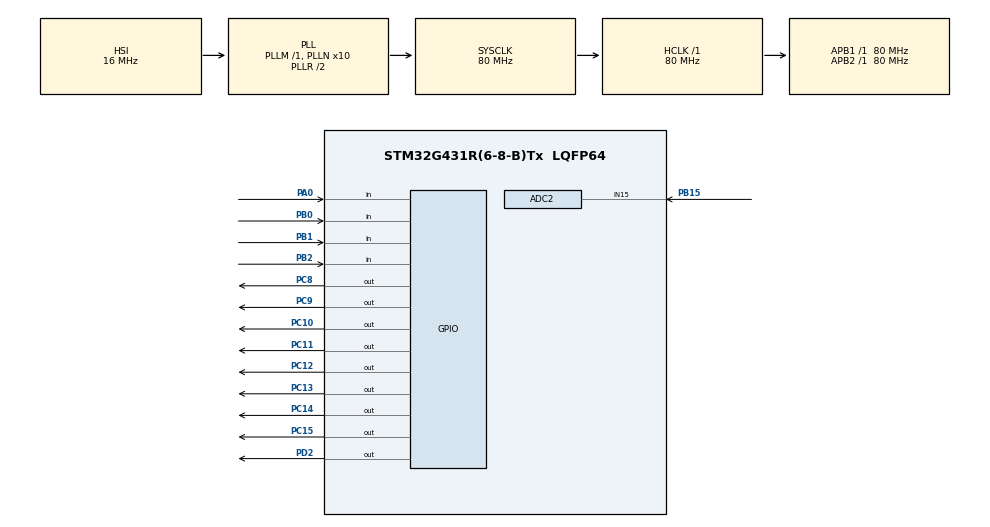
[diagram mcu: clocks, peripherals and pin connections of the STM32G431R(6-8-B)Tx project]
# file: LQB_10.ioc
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ADC2.Channel-0\#ChannelRegularConversion=ADC_CHANNEL_15
ADC2.NbrOfConversionFlag=1
ADC2.OffsetNumber-0\#ChannelRegularConversion=ADC_OFFSET_NONE
ADC2.Rank-0\#ChannelRegularConversion=1
ADC2.SamplingTime-0\#ChannelRegularConversion=ADC_SAMPLETIME_2CYCLES_5
Mcu.Family=STM32G4
Mcu.Name=STM32G431R(6-8-B)Tx
Mcu.Package=LQFP64
NVIC.PriorityGroup=NVIC_PRIORITYGROUP_4
PA0.Signal=GPIO_Input
PB0.Signal=GPIO_Input
PB1.Signal=GPIO_Input
PB15.Mode=IN15-Single-Ended
PB15.Signal=ADC2_IN15
PB2.Signal=GPIO_Input
PC10.PinState=GPIO_PIN_SET
PC10.Signal=GPIO_Output
PC11.PinState=GPIO_PIN_SET
PC11.Signal=GPIO_Output
PC12.PinState=GPIO_PIN_SET
PC12.Signal=GPIO_Output
PC13.PinState=GPIO_PIN_SET
PC13.Signal=GPIO_Output
PC14-OSC32_IN.PinState=GPIO_PIN_SET
PC14-OSC32_IN.Signal=GPIO_Output
PC15-OSC32_OUT.PinState=GPIO_PIN_SET
PC15-OSC32_OUT.Signal=GPIO_Output
PC8.PinState=GPIO_PIN_SET
PC8.Signal=GPIO_Output
PC9.PinState=GPIO_PIN_SET
PC9.Signal=GPIO_Output
PD2.Signal=GPIO_Output
ProjectManager.HeapSize=0x200
ProjectManager.StackSize=0x400
ProjectManager.TargetToolchain=MDK-ARM V5.32
RCC.ADC12Freq_Value=80000000
RCC.AHBFreq_Value=80000000
RCC.APB1Freq_Value=80000000
RCC.APB1TimFreq_Value=80000000
RCC.APB2Freq_Value=80000000
RCC.APB2TimFreq_Value=80000000
RCC.CortexFreq_Value=80000000
RCC.EXTERNAL_CLOCK_VALUE=12288000
RCC.HCLKFreq_Value=80000000
RCC.HSE_VALUE=8000000
RCC.HSI48_VALUE=48000000
RCC.HSI_VALUE=16000000
RCC.LSE_VALUE=32768
RCC.PLLN=10
RCC.SYSCLKFreq_VALUE=80000000
RCC.SYSCLKSource=RCC_SYSCLKSOURCE_PLLCLK
RCC.USBFreq_Value=80000000
RCC.VCOOutputFreq_Value=160000000
VP_SYS_VS_DBSignals.Mode=DisableDeadBatterySignals
board=custom

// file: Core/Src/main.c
/* USER CODE BEGIN Header */
/**
  ******************************************************************************
  * @file           : main.c
  * @brief          : Main program body
  ******************************************************************************
  * @attention
  *
  * Copyright (c) 2022 STMicroelectronics.
  * All rights reserved.
  *
  * This software is licensed under terms that can be found in the LICENSE file
  * in the root directory of this software component.
  * If no LICENSE file comes with this software, it is provided AS-IS.
  *
  ******************************************************************************
  */
/* USER CODE END Header */
#include "main.h"
#include "adc.h"
#include "gpio.h"

/* USER CODE BEGIN Includes */
#include "lcd.h"
#include "stdio.h"
#include "i2c - hal.h"
/* USER CODE END Includes */

/* USER CODE BEGIN PV */
__IO uint32_t uwTick_Lcd_Set_Point;
__IO uint32_t uwTick_Key_Set_Point;
__IO uint32_t uwTick_Led_Set_Point;

double ADC_Value;
unsigned char pucStr_Disp[21], pucStr[4];
unsigned char ucKey_Val, ucKey_Down, ucKey_Old;
unsigned char ucState, ucNo;
unsigned char ucMax, ucMin, ucUpper, ucLower;
unsigned char ucLed = 1;
unsigned char ucStatus;
/* USER CODE END PV */

void SystemClock_Config(void);
/* USER CODE BEGIN PFP */
void Lcd_Proc(void);
void ADC_Proc(void);
void Key_Proc(void);
void B3_Proc(void);
void B4_Proc(void);
void Led_Proc(void);
/* USER CODE END PFP */

int main(void)
{

  /* MCU Configuration--------------------------------------------------------*/

  /* Reset of all peripherals, Initializes the Flash interface and the Systick. */
  HAL_Init();

  /* Configure the system clock */
  SystemClock_Config();

  /* Initialize all configured peripherals */
  MX_GPIO_Init();
  MX_ADC2_Init();
  /* USER CODE BEGIN 2 */
	LCD_Init();
	LCD_Clear(White);
	LCD_SetBackColor(White);
	LCD_SetTextColor(Black);

	I2CInit();
	I2C_24C02_Read(pucStr, 0, 4);
	ucMax = pucStr[0];
	ucMin = pucStr[1];
	ucUpper = pucStr[2];
	ucLower = pucStr[3];
	if(ucMax >= 33)
		ucMax = 24;
	if(ucMin >= 33)
		ucMin = 12;
	if(ucUpper >= 9)
		ucUpper = 1;
	if(ucLower >= 9)
		ucLower = 2;
  /* USER CODE END 2 */

  /* Infinite loop */
  while (1)
  {

    /* USER CODE BEGIN 3 */
		Lcd_Proc();
		ADC_Proc();
		Key_Proc();
		Led_Proc();
  }
  /* USER CODE END 3 */
}

void SystemClock_Config(void)
{
  RCC_OscInitTypeDef RCC_OscInitStruct = {0};
  RCC_ClkInitTypeDef RCC_ClkInitStruct = {0};

  /** Configure the main internal regulator output voltage
  */
  HAL_PWREx_ControlVoltageScaling(PWR_REGULATOR_VOLTAGE_SCALE1);
  /** Initializes the RCC Oscillators according to the specified parameters
  * in the RCC_OscInitTypeDef structure.
  */
  RCC_OscInitStruct.OscillatorType = RCC_OSCILLATORTYPE_HSI;
  RCC_OscInitStruct.HSIState = RCC_HSI_ON;
  RCC_OscInitStruct.HSICalibrationValue = RCC_HSICALIBRATION_DEFAULT;
  RCC_OscInitStruct.PLL.PLLState = RCC_PLL_ON;
  RCC_OscInitStruct.PLL.PLLSource = RCC_PLLSOURCE_HSI;
  RCC_OscInitStruct.PLL.PLLM = RCC_PLLM_DIV1;
  RCC_OscInitStruct.PLL.PLLN = 10;
  RCC_OscInitStruct.PLL.PLLP = RCC_PLLP_DIV2;
  RCC_OscInitStruct.PLL.PLLQ = RCC_PLLQ_DIV2;
  RCC_OscInitStruct.PLL.PLLR = RCC_PLLR_DIV2;
  if (HAL_RCC_OscConfig(&RCC_OscInitStruct) != HAL_OK)
  {
    Error_Handler();
  }
  /** Initializes the CPU, AHB and APB buses clocks
  */
  RCC_ClkInitStruct.ClockType = RCC_CLOCKTYPE_HCLK|RCC_CLOCKTYPE_SYSCLK
                              |RCC_CLOCKTYPE_PCLK1|RCC_CLOCKTYPE_PCLK2;
  RCC_ClkInitStruct.SYSCLKSource = RCC_SYSCLKSOURCE_PLLCLK;
  RCC_ClkInitStruct.AHBCLKDivider = RCC_SYSCLK_DIV1;
  RCC_ClkInitStruct.APB1CLKDivider = RCC_HCLK_DIV1;
  RCC_ClkInitStruct.APB2CLKDivider = RCC_HCLK_DIV1;

  if (HAL_RCC_ClockConfig(&RCC_ClkInitStruct, FLASH_LATENCY_2) != HAL_OK)
  {
    Error_Handler();
  }
}

/* USER CODE BEGIN 4 */
void Lcd_Proc(void)
{
	if((uwTick - uwTick_Lcd_Set_Point) < 100)
		return;

	uwTick_Lcd_Set_Point = uwTick;

	if(!ucState)
	{
		LCD_DisplayStringLine(Line2, (u8*)"        Main        ");

		sprintf((char*)pucStr_Disp, "     Volt: %3.2lfV     ", (double)ADC2_Get() / 4095 * 3.3);
		LCD_DisplayStringLine(Line4, (u8*)pucStr_Disp);

		switch(ucStatus)
		{
			case 1:
				LCD_DisplayStringLine(Line5, (u8*)"     Stat: Upper    ");
			break;
			case 2:
				LCD_DisplayStringLine(Line5, (u8*)"     Stat: Lower    ");
			break;
			case 3:
				LCD_DisplayStringLine(Line5, (u8*)"     Stat: Normal   ");
			break;
		}
		LCD_DisplayStringLine(Line6, (u8*)"                    ");
		LCD_DisplayStringLine(Line7, (u8*)"                    ");
	}
	else
	{
		LCD_DisplayStringLine(Line2, (u8*)"      Setting       ");

		if(ucState == 1)
			LCD_SetBackColor(Red);
		sprintf((char*)pucStr_Disp, "    Max Volt: %2.1lfV    ", (double)ucMax / 10);
		LCD_DisplayStringLine(Line4, (u8*)pucStr_Disp);
		LCD_SetBackColor(White);

		if(ucState == 2)
			LCD_SetBackColor(Red);
		sprintf((char*)pucStr_Disp, "    Max Volt: %2.1lfV    ", (double)ucMin / 10);
		LCD_DisplayStringLine(Line5, (u8*)pucStr_Disp);
		LCD_SetBackColor(White);

		if(ucState == 3)
			LCD_SetBackColor(Red);
		sprintf((char*)pucStr_Disp, "    Upper:    LD%1u    ", ucUpper);
		LCD_DisplayStringLine(Line6, (u8*)pucStr_Disp);
		LCD_SetBackColor(White);

		if(ucState == 4)
			LCD_SetBackColor(Red);
		sprintf((char*)pucStr_Disp, "    Upper:    LD%1u    ", ucLower);
		LCD_DisplayStringLine(Line7, (u8*)pucStr_Disp);
		LCD_SetBackColor(White);
	}
}

void ADC_Proc(void)
{
	ADC_Value = (double)ADC2_Get() / 4095 * 330;

	if(ADC_Value > (ucMax * 10))
	{
		ucLed ^= (1 << (ucUpper - 1));
		ucStatus = 1;
	}
	if(ADC_Value < (ucMin * 10))
	{
		ucLed ^= (1 << (ucLower - 1));
		ucStatus = 2;
	}
	if(ADC_Value <= (ucMax * 10) && ADC_Value >= (ucMin * 10))
	{
		ucLed = 0;
		ucStatus = 3;
	}
}

void Key_Proc(void)
{
	if((uwTick - uwTick_Key_Set_Point) < 50)
		return;

	uwTick_Key_Set_Point = uwTick;

	ucKey_Val = Key_Scan();
	ucKey_Down = ucKey_Val & (ucKey_Val ^ ucKey_Old);
	ucKey_Old = ucKey_Val;

	switch(ucKey_Down)
	{
		case 1:
			if(!ucState)
			{
				ucState = 1;
			}
			else
			{
				ucState = 0;

				pucStr[0] = ucMax;
				pucStr[1] = ucMin;
				pucStr[2] = ucUpper;
				pucStr[3] = ucLower;
				I2C_24C02_Write(pucStr, 0, 4);
			}
		break;

		case 2:
			if(ucState)
			{
				if(++ucState == 5)
					ucState = 1;
			}
		break;

		case 3:
				B3_Proc();
		break;

		case 4:
				B4_Proc();
		break;
	}
}

void B3_Proc(void)
{
	switch(ucState)
	{
		case 1:
			if(ucMax < 33)
					ucMax += 3;
		break;

		case 2:
			if((ucMax - ucMin) > 3)
				ucMin += 3;
		break;

		case 3:
			if(++ucUpper > 8)
				ucUpper = 1;
			if(ucUpper == ucLower)
				if(++ucUpper > 8)
					ucUpper = 1;
		break;

		case 4:
			if(++ucLower > 8)
				ucLower = 1;
			if(ucUpper == ucLower)
				if(++ucLower > 8)
					ucLower = 1;
		break;
	}
}

void B4_Proc(void)
{
	switch(ucState)
	{
		case 1:
			if((ucMax - ucMin) > 3)
					ucMax -= 3;
		break;

		case 2:
			if(ucMin > 3)
				ucMin -= 3;
		break;

		case 3:
			if(--ucUpper == 0)
				ucUpper = 8;
			if(ucUpper == ucLower)
				if(--ucUpper == 0)
					ucUpper = 8;
		break;

		case 4:
			if(--ucLower == 0)
				ucLower = 8;
			if(ucUpper == ucLower)
				if(--ucLower == 0)
					ucLower = 8;
		break;
	}
}

void Led_Proc(void)
{
	if((uwTick - uwTick_Led_Set_Point) < 200)
		return;

	uwTick_Led_Set_Point = uwTick;

	Led_Disp(ucLed);
}
/* USER CODE END 4 */

void Error_Handler(void)
{
  __disable_irq();
  while (1)
  {
  }
}
